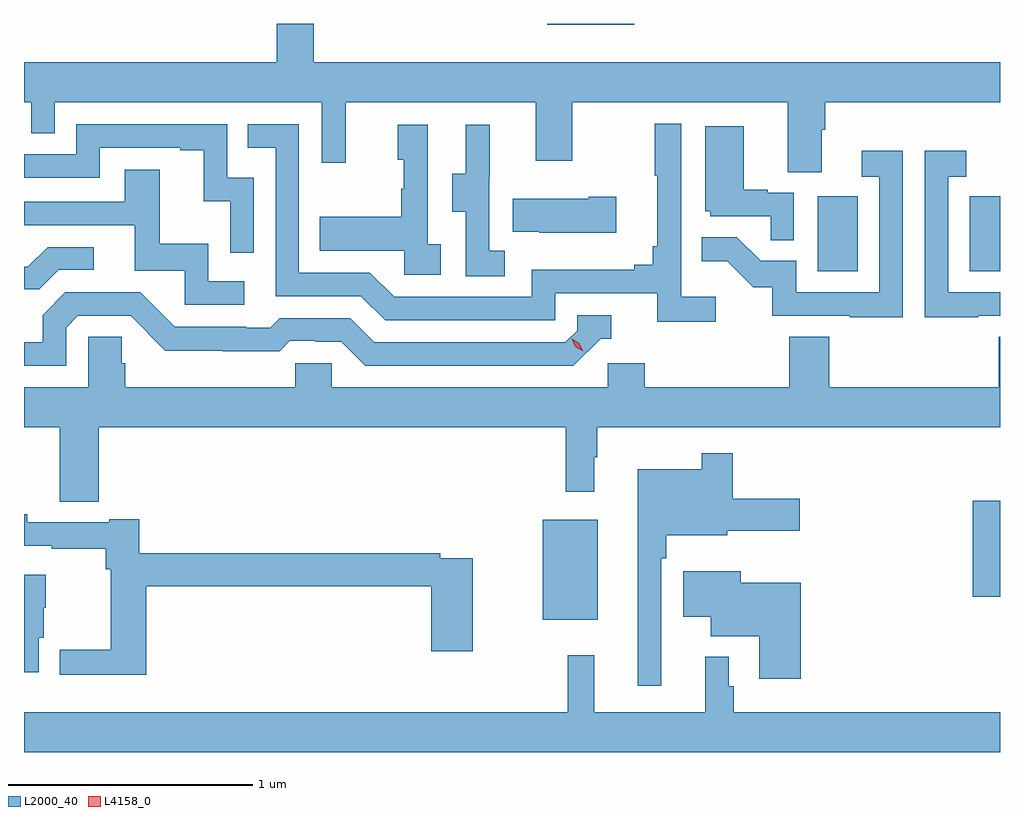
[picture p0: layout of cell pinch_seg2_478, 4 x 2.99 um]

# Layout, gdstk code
import gdstk
lib = gdstk.Library(unit=1e-6, precision=1e-09)
def R(c, l, rs):  # rectangles x0, y0, x1, y1
    for r in rs: c.add(gdstk.rectangle(r[:2], r[2:], *l))
def P(c, l, *ps):  # polygons
    for p in ps: c.add(gdstk.Polygon(p, *l))
L2000_40 = (2000, 40)
L4158_0 = (4158, 0)

pinch_seg2_478 = lib.new_cell('pinch_seg2_478')
R(pinch_seg2_478, L2000_40, [(939.68,598.895,939.907,599.305), (941.444,598.989,941.555,599.383), (940.808,600.324,940.972,600.631), (941.432,600.324,941.555,600.631), (939.699,601.334,940.055,601.339)])
P(pinch_seg2_478, L2000_40, [(940.825,600.904),(940.838,600.904),(940.838,601.016),(941.555,601.016),(941.555,601.18),(938.743,601.18),(938.743,601.339),(938.591,601.339),(938.591,601.18),(937.555,601.18),(937.555,601.016),(937.584,601.016),(937.584,600.889),(937.68,600.889),(937.68,601.016),(938.775,601.016),(938.775,600.768),(938.873,600.768),(938.873,601.016),(939.653,601.016),(939.653,600.777),(939.801,600.777),(939.801,601.016),(940.685,601.016),(940.685,600.73),(940.825,600.73)],
  [(940.39,600.22),(940.248,600.22),(940.248,600.928),(940.14,600.928),(940.14,600.715),(940.151,600.715),(940.151,600.427),(940.132,600.427),(940.132,600.35),(940.055,600.35),(940.055,600.331),(939.636,600.331),(939.636,600.219),(939.072,600.219),(938.973,600.318),(938.682,600.318),(938.682,600.927),(938.473,600.927),(938.473,600.831),(938.586,600.831),(938.586,600.222),(938.936,600.222),(939.035,600.123),(939.732,600.123),(939.732,600.234),(940.151,600.234),(940.151,600.118),(940.39,600.118)],
  [(938.496,600.708),(938.388,600.708),(938.388,600.927),(937.77,600.927),(937.77,600.804),(937.555,600.804),(937.555,600.708),(937.866,600.708),(937.866,600.831),(938.195,600.831),(938.195,600.819),(938.291,600.819),(938.291,600.611),(938.4,600.611),(938.4,600.399),(938.496,600.399)],
  [(939.526,600.407),(939.462,600.407),(939.462,600.711),(939.464,600.711),(939.464,600.925),(939.365,600.925),(939.365,600.723),(939.311,600.723),(939.311,600.568),(939.366,600.568),(939.366,600.304),(939.526,600.304)],
  [(939.262,600.434),(939.21,600.434),(939.21,600.925),(939.086,600.925),(939.086,600.78),(939.112,600.78),(939.112,600.662),(939.102,600.662),(939.102,600.547),(938.767,600.547),(938.767,600.407),(939.114,600.407),(939.114,600.309),(939.262,600.309)],
  [(940.71,600.645),(940.604,600.645),(940.604,600.658),(940.504,600.658),(940.504,600.919),(940.346,600.919),(940.346,600.57),(940.368,600.57),(940.368,600.549),(940.615,600.549),(940.615,600.451),(940.71,600.451)],
  [(941.157,600.817),(940.989,600.817),(940.989,600.711),(941.061,600.711),(941.061,600.237),(940.719,600.237),(940.719,600.366),(940.575,600.366),(940.477,600.464),(940.333,600.464),(940.333,600.365),(940.437,600.365),(940.544,600.258),(940.621,600.258),(940.621,600.141),(940.939,600.141),(940.939,600.136),(941.157,600.136)],
  [(941.465,600.141),(941.555,600.141),(941.555,600.237),(941.343,600.237),(941.343,600.711),(941.416,600.711),(941.416,600.817),(941.247,600.817),(941.247,600.136),(941.465,600.136)],
  [(938.458,600.282),(938.31,600.282),(938.31,600.436),(938.111,600.436),(938.111,600.739),(937.967,600.739),(937.967,600.609),(937.555,600.609),(937.555,600.513),(938.009,600.513),(938.009,600.327),(938.214,600.327),(938.214,600.186),(938.458,600.186)],
  [(939.982,600.63),(939.869,600.63),(939.869,600.622),(939.559,600.622),(939.559,600.485),(939.667,600.485),(939.667,600.482),(939.982,600.482)],
  [(937.698,600.33),(937.84,600.33),(937.84,600.423),(937.652,600.423),(937.571,600.342),(937.555,600.342),(937.555,600.25),(937.618,600.25)],
  [(937.728,600.093),(937.776,600.141),(937.992,600.141),(938.134,599.999),(938.37,599.999),(938.37,599.997),(938.603,599.997),(938.645,600.039),(938.748,600.039),(938.748,600.036),(938.855,600.036),(938.954,599.937),(939.807,599.937),(939.918,600.048),(939.961,600.048),(939.961,600.144),(939.822,600.144),(939.822,600.081),(939.774,600.033),(938.991,600.033),(938.892,600.132),(938.603,600.132),(938.564,600.093),(938.465,600.093),(938.465,600.096),(938.172,600.096),(938.031,600.237),(937.725,600.237),(937.631,600.143),(937.631,600.033),(937.555,600.033),(937.555,599.937),(937.728,599.937)],
  [(937.862,599.684),(939.775,599.684),(939.775,599.421),(939.892,599.421),(939.892,599.561),(939.904,599.561),(939.904,599.684),(941.555,599.684),(941.555,600.056),(941.549,600.056),(941.549,599.848),(940.856,599.848),(940.856,600.056),(940.691,600.056),(940.691,599.848),(940.1,599.848),(940.1,599.946),(939.948,599.946),(939.948,599.848),(938.817,599.848),(938.817,599.946),(938.667,599.946),(938.667,599.848),(937.97,599.848),(937.97,599.946),(937.955,599.946),(937.955,600.056),(937.818,600.056),(937.818,599.848),(937.555,599.848),(937.555,599.684),(937.702,599.684),(937.702,599.38),(937.862,599.38)],
  [(940.167,599.147),(940.187,599.147),(940.187,599.243),(940.437,599.243),(940.437,599.261),(940.735,599.261),(940.735,599.391),(940.46,599.391),(940.46,599.578),(940.332,599.578),(940.332,599.512),(940.07,599.512),(940.07,598.626),(940.167,598.626)],
  [(938.057,599.032),(939.224,599.032),(939.224,598.767),(939.394,598.767),(939.394,599.148),(939.26,599.148),(939.26,599.168),(938.027,599.168),(938.027,599.308),(937.904,599.308),(937.904,599.295),(937.569,599.295),(937.569,599.328),(937.555,599.328),(937.555,599.199),(937.669,599.199),(937.669,599.187),(937.891,599.187),(937.891,599.102),(937.91,599.102),(937.91,598.772),(937.701,598.772),(937.701,598.67),(938.057,598.67)],
  [(940.739,599.047),(940.492,599.047),(940.492,599.095),(940.256,599.095),(940.256,598.907),(940.37,598.907),(940.37,598.829),(940.568,598.829),(940.568,598.653),(940.739,598.653)],
  [(937.615,598.821),(937.636,598.821),(937.636,598.944),(937.645,598.944),(937.645,599.08),(937.555,599.08),(937.555,598.68),(937.615,598.68)],
  [(941.555,598.516),(940.463,598.516),(940.463,598.623),(940.443,598.623),(940.443,598.744),(940.346,598.744),(940.346,598.516),(939.893,598.516),(939.893,598.75),(939.783,598.75),(939.783,598.516),(937.555,598.516),(937.555,598.352),(941.555,598.352)])
P(pinch_seg2_478, L4158_0, [(939.846,599.996),(939.815,600.015),(939.799,600.047),(939.799,600.048),(939.799,600.048),(939.83,600.028),(939.846,599.996),(939.846,599.996)])

lib.write_gds('pinch_seg2_478.gds')
